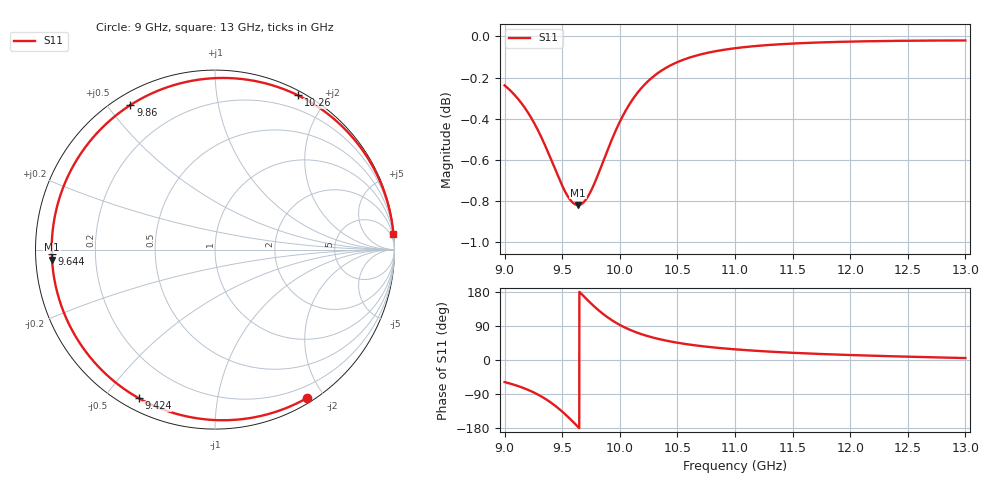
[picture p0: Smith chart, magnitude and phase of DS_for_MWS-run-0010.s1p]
! TOUCHSTONE file generated by CST DESIGN STUDIO
! Date and time: Wed Feb  5 13:46:44 2025
! Project name: C:\Work\MatlabApps\UnitCellOptimizationMatlab\CST\unitcell.cst
! Tree item: Tasks\Sweep1\SPara1\S-Parameters
! Header version: 2024
! Port assignment regex: !\s*Touchstone port\s*([0-9]+)\s*=\s*(CST MWS port|CST DES external port|CST DES block port)\s*(.+)\s* \(\"(.*)\"\)(\s*mode\s*([0-9]+))?.*
! Touchstone port assignment:
! Touchstone port 1 = CST DES external port 1 ("")
# GHz S MA R 50
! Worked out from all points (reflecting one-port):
!   4001 points, 9 GHz to 13 GHz, reference 50 ohm
!   lowest |S11| = -0.8 dB at 9.637 GHz (marker M1), VSWR 21.21, Z = 2.36 - j1.56 ohm
!   phase of S11 starts at -58 deg and turns -297 deg over the sweep
!   S11 on the Smith chart (normalised r, x): 9 GHz: 0.06, -1.79; 9.424 GHz: 0.05, -0.61; 9.644 GHz: 0.05, -0.01; 9.86 GHz: 0.05, +0.57; 10.26 GHz: 0.05, +1.67; 13 GHz: 1, +22
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9  0.973 -58.3
9.107  0.9664 -67.8
9.214  0.9572 -80.2
9.276  0.9505 -89.1
9.33  0.9437 -98.1
9.379  0.937 -107.5
9.424  0.9305 -117.2
9.462  0.925 -126.3
9.5  0.9199 -136.1
9.573  0.9124 -156.9
9.637  0.91 -176.4
9.644  0.91 -178.6
9.689  0.9116 167.5
9.737  0.9157 153.0
9.799  0.9238 135.6
9.86  0.9331 120.3
9.926  0.9432 106.0
10  0.9534 92.6
10.123  0.9664 75.3
10.257  0.976 61.7
10.37  0.9814 53.2
10.5  0.9857 45.6
10.719  0.9903 36.3
11  0.9934 28.1
11.5  0.996 19.0
12  0.9971 13.1
12.5  0.9976 8.7
13  0.9978 5.1
